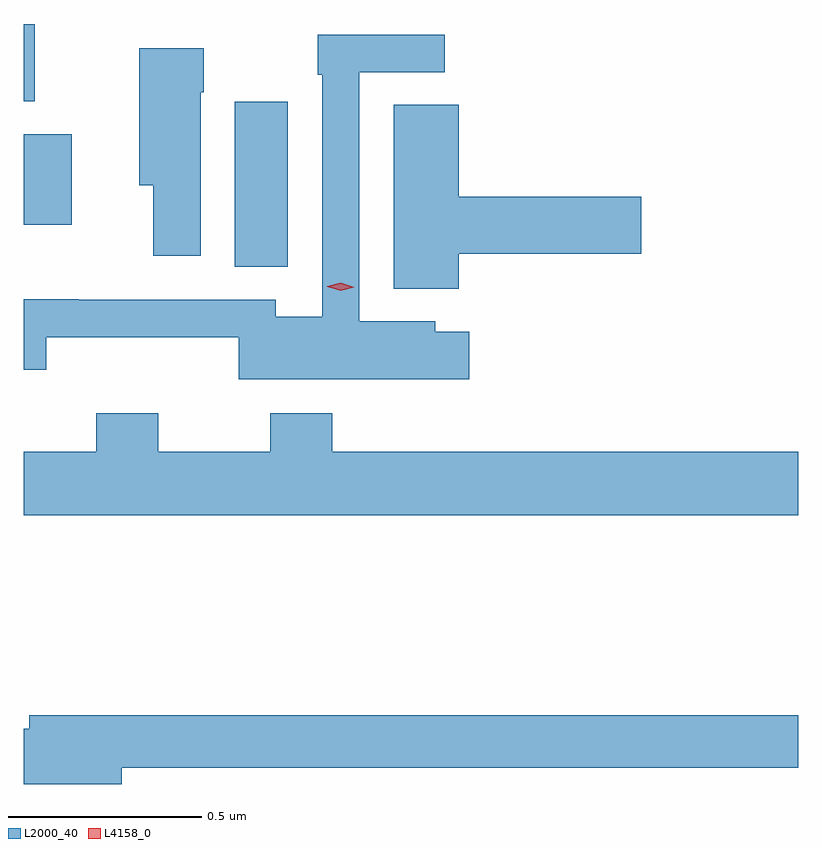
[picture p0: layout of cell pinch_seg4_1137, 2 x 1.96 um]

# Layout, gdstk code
import gdstk
lib = gdstk.Library(unit=1e-6, precision=1e-09)
def R(c, l, rs):  # rectangles x0, y0, x1, y1
    for r in rs: c.add(gdstk.rectangle(r[:2], r[2:], *l))
def P(c, l, *ps):  # polygons
    for p in ps: c.add(gdstk.Polygon(p, *l))
L2000_40 = (2000, 40)
L4158_0 = (4158, 0)

pinch_seg4_1137 = lib.new_cell('pinch_seg4_1137')
R(pinch_seg4_1137, L2000_40, [(401.114,793.465,401.251,793.891), (400.569,793.574,400.693,793.807), (400.569,793.893,400.598,794.092)])
P(pinch_seg4_1137, L2000_40, [(401.719,793.297),(401.631,793.297),(401.631,793.324),(401.436,793.324),(401.436,793.968),(401.656,793.968),(401.656,794.064),(401.328,794.064),(401.328,793.961),(401.34,793.961),(401.34,793.336),(401.22,793.336),(401.22,793.38),(400.711,793.38),(400.711,793.382),(400.569,793.382),(400.569,793.2),(400.628,793.2),(400.628,793.283),(401.124,793.283),(401.124,793.175),(401.719,793.175)],
  [(401.026,793.916),(401.034,793.916),(401.034,794.029),(400.868,794.029),(400.868,793.676),(400.904,793.676),(400.904,793.494),(401.026,793.494)],
  [(401.692,793.499),(402.163,793.499),(402.163,793.646),(401.692,793.646),(401.692,793.883),(401.525,793.883),(401.525,793.409),(401.692,793.409)],
  [(402.569,792.988),(401.366,792.988),(401.366,793.087),(401.206,793.087),(401.206,792.988),(400.917,792.988),(400.917,793.087),(400.757,793.087),(400.757,792.988),(400.569,792.988),(400.569,792.824),(402.569,792.824)],
  [(400.822,792.172),(402.569,792.172),(402.569,792.308),(400.583,792.308),(400.583,792.272),(400.569,792.272),(400.569,792.13),(400.822,792.13)])
P(pinch_seg4_1137, L4158_0, [(401.388,793.404),(401.353,793.414),(401.353,793.414),(401.353,793.415),(401.388,793.424),(401.422,793.413),(401.422,793.413),(401.422,793.413)])

lib.write_gds('pinch_seg4_1137.gds')
